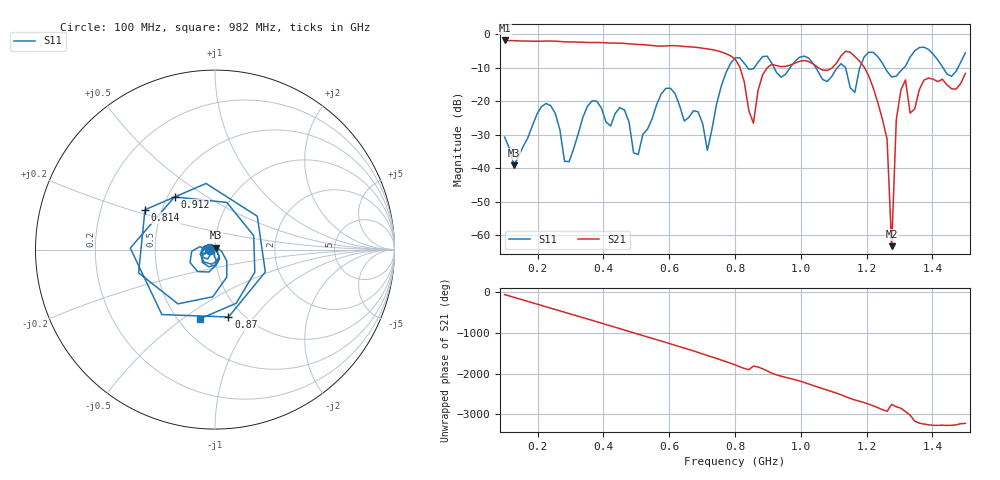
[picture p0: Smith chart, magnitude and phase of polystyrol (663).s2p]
! NanoVNA-App
! Date: 2025-09-25 15:35:02
! Start: 100MHz Stop: 1,5GHz Points: 101
! S-Parameter data: F S11 S21 S12 S22
# Hz S RI R 50
!  Frequency  S11_Real  S11_Imag  S21_Real  S21_Imag  S12_Real  S12_Imag  S22_Real  S22_Imag
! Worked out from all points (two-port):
!   101 points, 100 MHz to 1.5 GHz, reference 50 ohm
!   highest |S21| = -1.80 dB at 100 MHz (marker M1); lowest = -63.3 dB at 1.276 GHz (marker M2)
!   |S21| within 3 dB of the highest: start of sweep to 743.2 MHz
!   lowest |S11| = -39.1 dB at 128 MHz (marker M3), VSWR 1.02, Z = 50.3 + j1.06 ohm
!   |S11| at or under -10 dB: start of sweep to 779.8 MHz; 1.046 GHz to 1.11 GHz (64.71 MHz wide, 6 % of centre); 1.256 GHz to 1.313 GHz (56.55 MHz wide, 4.4 % of centre) (the widest 3 of 7)
!   S12 and S22 are empty: the file has one direction only
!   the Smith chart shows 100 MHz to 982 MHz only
!   S11 on the Smith chart (normalised r, x): 100 MHz: 0.94, -0.01; 814 MHz: 0.40, +0.22; 870 MHz: 0.86, -0.75; 912 MHz: 0.54, +0.37; 982 MHz: 0.64, -0.58
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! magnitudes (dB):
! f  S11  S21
! 100 MHz  -30.7  -1.8
! 128 MHz  -39.1  -1.9
! 212 MHz  -21.6  -2.0
! 282 MHz  -37.9  -2.2
! 338 MHz  -24.7  -2.3
! 506 MHz  -35.9  -3.0
! 576 MHz  -17.8  -3.5
! 716 MHz  -34.6  -4.3
! 800 MHz  -7.0  -7.4
! 814 MHz  -7.0  -9.6
! 856 MHz  -10.3  -26.5
! 870 MHz  -8.3  -16.7
! 912 MHz  -8.6  -8.9
! 982 MHz  -8.1  -8.6
! 1.038 GHz  -8.8  -8.9
! 1.164 GHz  -17.4  -6.6
! 1.206 GHz  -5.3  -12.3
! 1.262 GHz  -11.0  -31.3
! 1.276 GHz  -12.7  -63.3
! 1.29 GHz  -12.5  -25.6
! 1.304 GHz  -10.8  -16.6
! 1.5 GHz  -5.5  -11.7
